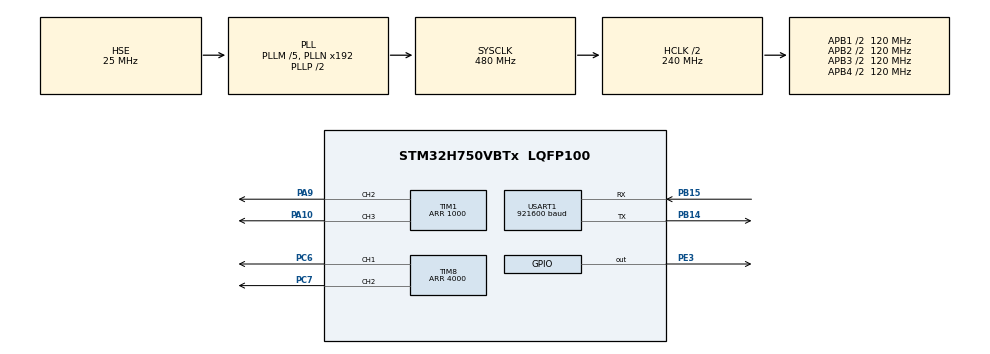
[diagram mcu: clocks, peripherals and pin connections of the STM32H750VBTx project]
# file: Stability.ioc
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CORTEX_M7.default_mode_Activation=1
Dma.Request0=USART1_RX
Dma.USART1_RX.0.Direction=DMA_PERIPH_TO_MEMORY
Dma.USART1_RX.0.EventEnable=DISABLE
Dma.USART1_RX.0.FIFOMode=DMA_FIFOMODE_DISABLE
Dma.USART1_RX.0.Instance=DMA1_Stream0
Dma.USART1_RX.0.MemDataAlignment=DMA_MDATAALIGN_BYTE
Dma.USART1_RX.0.MemInc=DMA_MINC_ENABLE
Dma.USART1_RX.0.Mode=DMA_NORMAL
Dma.USART1_RX.0.PeriphDataAlignment=DMA_PDATAALIGN_BYTE
Dma.USART1_RX.0.PeriphInc=DMA_PINC_DISABLE
Dma.USART1_RX.0.Polarity=HAL_DMAMUX_REQ_GEN_RISING
Dma.USART1_RX.0.Priority=DMA_PRIORITY_LOW
Dma.USART1_RX.0.RequestNumber=1
Dma.USART1_RX.0.SignalID=NONE
Dma.USART1_RX.0.SyncEnable=DISABLE
Dma.USART1_RX.0.SyncPolarity=HAL_DMAMUX_SYNC_NO_EVENT
Dma.USART1_RX.0.SyncRequestNumber=1
Dma.USART1_RX.0.SyncSignalID=NONE
Mcu.Family=STM32H7
Mcu.Name=STM32H750VBTx
Mcu.Package=LQFP100
NVIC.DMA1_Stream0_IRQn=true\:0\:0\:false\:false\:true\:false\:true\:true
NVIC.PriorityGroup=NVIC_PRIORITYGROUP_4
NVIC.TIM2_IRQn=true\:15\:0\:false\:false\:true\:false\:true\:true
NVIC.TimeBase=TIM2_IRQn
NVIC.TimeBaseIP=TIM2
NVIC.USART1_IRQn=true\:0\:0\:false\:false\:true\:true\:true\:true
PA10.Signal=S_TIM1_CH3
PA13\ (JTMS/SWDIO).Signal=DEBUG_JTMS-SWDIO
PA14\ (JTCK/SWCLK).Signal=DEBUG_JTCK-SWCLK
PA9.Signal=S_TIM1_CH2
PB14.Mode=Asynchronous
PB14.Signal=USART1_TX
PB15.Mode=Asynchronous
PB15.Signal=USART1_RX
PC6.Signal=S_TIM8_CH1
PC7.Signal=S_TIM8_CH2
PE3.PinState=GPIO_PIN_SET
PE3.Signal=GPIO_Output
PH0-OSC_IN\ (PH0).Mode=HSE-External-Oscillator
PH0-OSC_IN\ (PH0).Signal=RCC_OSC_IN
PH1-OSC_OUT\ (PH1).Mode=HSE-External-Oscillator
PH1-OSC_OUT\ (PH1).Signal=RCC_OSC_OUT
ProjectManager.HeapSize=0x200
ProjectManager.StackSize=0x400
ProjectManager.TargetToolchain=CMake
RCC.ADCFreq_Value=50390625
RCC.APB1Freq_Value=120000000
RCC.APB2Freq_Value=120000000
RCC.APB3Freq_Value=120000000
RCC.APB4Freq_Value=120000000
RCC.CortexFreq_Value=480000000
RCC.D1PPRE=RCC_APB3_DIV2
RCC.D2PPRE1=RCC_APB1_DIV2
RCC.D2PPRE2=RCC_APB2_DIV2
RCC.D3PPRE=RCC_APB4_DIV2
RCC.DIVM1=5
RCC.DIVN1=192
RCC.EnbaleCSS=true
RCC.HCLKFreq_Value=240000000
RCC.HPRE=RCC_HCLK_DIV2
RCC.PLLFRACN=0
RCC.PLLSourceVirtual=RCC_PLLSOURCE_HSE
RCC.SYSCLKFreq_VALUE=480000000
RCC.SYSCLKSource=RCC_SYSCLKSOURCE_PLLCLK
RCC.USBFreq_Value=480000000
SH.S_TIM1_CH2.0=TIM1_CH2,PWM Generation2 CH2
SH.S_TIM1_CH3.0=TIM1_CH3,PWM Generation3 CH3
SH.S_TIM8_CH1.0=TIM8_CH1,PWM Generation1 CH1
SH.S_TIM8_CH2.0=TIM8_CH2,PWM Generation2 CH2
TIM1.Channel-PWM\ Generation2\ CH2=TIM_CHANNEL_2
TIM1.Channel-PWM\ Generation3\ CH3=TIM_CHANNEL_3
TIM1.Period=1000
TIM8.Channel-PWM\ Generation1\ CH1=TIM_CHANNEL_1
TIM8.Channel-PWM\ Generation2\ CH2=TIM_CHANNEL_2
TIM8.Period=4000
USART1.BaudRate=921600
USART1.VirtualMode-Asynchronous=VM_ASYNC
VP_MEMORYMAP_VS_MEMORYMAP.Mode=CurAppReg
VP_SYS_VS_tim2.Mode=TIM2
board=custom

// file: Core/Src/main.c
/* USER CODE BEGIN Header */
/**
  ******************************************************************************
  * @file : main.c
  * @brief : Main program body
  ******************************************************************************
  * @attention
  *
  * Copyright (c) 2026 STMicroelectronics.
  * All rights reserved.
  *
  * This software is licensed under terms that can be found in the LICENSE file
  * in the root directory of this software component.
  * If no LICENSE file comes with this software, it is provided AS-IS.
  *
  ******************************************************************************
  */
/* USER CODE END Header */
#include "main.h"

/* USER CODE BEGIN Includes */
#include "Simulink.h" // Auto-generated Simulink header
#include <string.h> // Required for memcpy
/* USER CODE END Includes */

TIM_HandleTypeDef htim1;
TIM_HandleTypeDef htim8;

UART_HandleTypeDef huart1;
DMA_HandleTypeDef hdma_usart1_rx;

/* USER CODE BEGIN PV */
// 1. STM32H7 CRITICAL: Force buffer to AXI SRAM so DMA and CPU Cache don't fight
uint8_t * const uart_rx_buffer = (uint8_t*)0x24000000;
volatile uint8_t data_ready = 0; // Flag to trigger control loop
volatile uint32_t last_packet_time = 0; // Failsafe watchdog timer
/* USER CODE END PV */

void SystemClock_Config(void);
static void MPU_Config(void);
static void MX_DMA_Init(void);
static void MX_USART1_UART_Init(void);

/* USER CODE BEGIN 0 */

// 1. Error Recovery Callback (Catches Overrun/Framing Errors safely)
// Directly clears the flags and restarts the DMA, avoiding HAL abort deadlocks.
void HAL_UART_ErrorCallback(UART_HandleTypeDef *huart)
{
  if (huart->Instance == USART1)
  {
    // 1. Clear all UART error flags (ORE, NE, FE, PE)
    __HAL_UART_CLEAR_FLAG(huart, UART_CLEAR_OREF | UART_CLEAR_NEF | UART_CLEAR_FEF | UART_CLEAR_PEF);

    // 2. Directly restart the DMA in "Hunting Mode" (1 byte)
    HAL_UART_Receive_DMA(huart, uart_rx_buffer, 1);
  }
}

// 3. Self-Healing Receive Complete Callback
void HAL_UART_RxCpltCallback(UART_HandleTypeDef *huart)
{
  if (huart->Instance == USART1)
  {
    // Always invalidate the base 32-byte aligned cache line
    SCB_InvalidateDCache_by_Addr((uint32_t *)uart_rx_buffer, 32);

    // --- STATE 1: Normal 26-byte synchronized reading ---
    if (huart->RxXferSize == 26)
    {
        if (uart_rx_buffer[0] == 0xAA && uart_rx_buffer[1] == 0x55)
        {
            // Packet is perfectly aligned! Extract data.
            float temp_states[6];
            memcpy(temp_states, &uart_rx_buffer[2], 24);

            for(int i = 0; i < 6; i++) {
                rtU.state_x[i] = (double)temp_states[i];
            }

            data_ready = 1; // Trigger Simulink

            // Keep listening for the next 26-byte packet
            HAL_UART_Receive_DMA(&huart1, uart_rx_buffer, 26);
        }
        else
        {
            // Packet rejected (Misaligned). Switch to State 2 (Hunting Mode)
            HAL_UART_Receive_DMA(&huart1, uart_rx_buffer, 1);
        }
    }

    // --- STATE 2: Hunting Mode (Reading 1 byte at a time to find headers) ---
    else if (huart->RxXferSize == 1)
    {
        static uint8_t last_byte = 0;
        if (last_byte == 0xAA && uart_rx_buffer[0] == 0x55)
        {
            // Found the sync headers! Switch to State 3.
            // Request the remaining 24 bytes of the payload.
            HAL_UART_Receive_DMA(&huart1, &uart_rx_buffer[2], 24);
            last_byte = 0; // Reset for next time
        }
        else
        {
            // Store this byte and keep hunting
            last_byte = uart_rx_buffer[0];
            HAL_UART_Receive_DMA(&huart1, uart_rx_buffer, 1);
        }
    }

    // --- STATE 3: Payload Recovery (Reading the 24 bytes after headers) ---
    else if (huart->RxXferSize == 24)
    {
        // Payload successfully recovered after a framing error
        float temp_states[6];
        memcpy(temp_states, &uart_rx_buffer[2], 24);

        for(int i = 0; i < 6; i++) {
            rtU.state_x[i] = (double)temp_states[i];
        }

        data_ready = 1; // Trigger Simulink

        // We are fully synchronized again! Go back to State 1
        HAL_UART_Receive_DMA(&huart1, uart_rx_buffer, 26);
    }
  }
}
/* USER CODE END 0 */

int main(void)
{

  /* MPU Configuration--------------------------------------------------------*/
  MPU_Config();

  /* MCU Configuration--------------------------------------------------------*/

  /* Reset of all peripherals, Initializes the Flash interface and the Systick. */
  HAL_Init();

  /* Configure the system clock */
  SystemClock_Config();

  /* Initialize all configured peripherals */
  MX_GPIO_Init();
  MX_DMA_Init();
  MX_TIM1_Init();
  MX_TIM8_Init();
  MX_USART1_UART_Init();
  /* USER CODE BEGIN 2 */

  // 1. SAFETY: Override CubeMX init and explicitly pull PE3 LOW to disable motors
  HAL_GPIO_WritePin(GPIOE, GPIO_PIN_3, GPIO_PIN_RESET);

  // 2. Initialize the Simulink controller
  Simulink_initialize();

  // 3. Kick off the asynchronous DMA listener to receive data from ESP32
  HAL_UART_Receive_DMA(&huart1, uart_rx_buffer, 26);

  // 4. BLOCKING WAIT: Trap the STM32 here until the ESP32 sends the first packet
  while(data_ready == 0)
  {
      // Waiting for ESP32 connection...
      HAL_Delay(10);
  }

  // ESP32 IS CONNECTED! Clear the flag from the first packet
  data_ready = 0;
  last_packet_time = HAL_GetTick(); // Initialize watchdog timestamp

  // 5. ENABLE MOTORS: Pull PE3 HIGH now that we have valid state data
  HAL_GPIO_WritePin(GPIOE, GPIO_PIN_3, GPIO_PIN_SET);

  // 6. Start the Hardware Timers for PWM Output (UPDATED CHANNELS)
  HAL_TIM_PWM_Start(&htim1, TIM_CHANNEL_2); // Right Motor RPWM (PA9)
  HAL_TIM_PWM_Start(&htim1, TIM_CHANNEL_3); // Right Motor LPWM (PA10)

  HAL_TIM_PWM_Start(&htim8, TIM_CHANNEL_1); // Left Motor RPWM (PC6)
  HAL_TIM_PWM_Start(&htim8, TIM_CHANNEL_2); // Left Motor LPWM (PC7)

  /* USER CODE END 2 */

  /* Infinite loop */
  /* USER CODE BEGIN WHILE */
    while (1)
    {
      // CRITICAL: Only run LQR math when NEW data arrives from the ESP32.
      // This locks your control loop dt to the exact frequency of your sensors.
      if (data_ready == 1)
      {
        // Acknowledge the flag and update timestamp
        data_ready = 0;
        last_packet_time = HAL_GetTick();

        // Re-enable motors in case watchdog had disabled them
        HAL_GPIO_WritePin(GPIOE, GPIO_PIN_3, GPIO_PIN_SET);

        // 1. Run the LQR Control Matrix calculation (now with deadband!)
        Simulink_step();

        // 2. Apply generated PWM to hardware timers dynamically

        // Right Motor (TIM1) -> PA9 and PA10
        __HAL_TIM_SET_COMPARE(&htim1, TIM_CHANNEL_2, (uint32_t)rtY.RPWM_R1);
        __HAL_TIM_SET_COMPARE(&htim1, TIM_CHANNEL_3, (uint32_t)rtY.RPWM_R);

        // Left Motor (TIM8) -> PC6 and PC7
        __HAL_TIM_SET_COMPARE(&htim8, TIM_CHANNEL_1, (uint32_t)rtY.RPWM_R2);
        __HAL_TIM_SET_COMPARE(&htim8, TIM_CHANNEL_2, (uint32_t)rtY.RPWM_R3);
      }
      else
      {
        // Failsafe Watchdog: If no packet received for > 100ms, shutdown motors
        if (HAL_GetTick() - last_packet_time > 100)
        {
          // Disable motor drivers globally
          HAL_GPIO_WritePin(GPIOE, GPIO_PIN_3, GPIO_PIN_RESET);

          // Force duty cycles to 0 to prevent motor spinning
          __HAL_TIM_SET_COMPARE(&htim1, TIM_CHANNEL_2, 0);
          __HAL_TIM_SET_COMPARE(&htim1, TIM_CHANNEL_3, 0);
          __HAL_TIM_SET_COMPARE(&htim8, TIM_CHANNEL_1, 0);
          __HAL_TIM_SET_COMPARE(&htim8, TIM_CHANNEL_2, 0);
        }
      }
    /* USER CODE END WHILE */

    }
}

void SystemClock_Config(void)
{
  RCC_OscInitTypeDef RCC_OscInitStruct = {0};
  RCC_ClkInitTypeDef RCC_ClkInitStruct = {0};

  /** Supply configuration update enable
  */
  HAL_PWREx_ConfigSupply(PWR_LDO_SUPPLY);

  /** Configure the main internal regulator output voltage
  */
  __HAL_PWR_VOLTAGESCALING_CONFIG(PWR_REGULATOR_VOLTAGE_SCALE1);

  while(!__HAL_PWR_GET_FLAG(PWR_FLAG_VOSRDY)) {}

  __HAL_RCC_SYSCFG_CLK_ENABLE();
  __HAL_PWR_VOLTAGESCALING_CONFIG(PWR_REGULATOR_VOLTAGE_SCALE0);

  while(!__HAL_PWR_GET_FLAG(PWR_FLAG_VOSRDY)) {}

  /** Initializes the RCC Oscillators according to the specified parameters
  * in the RCC_OscInitTypeDef structure.
  */
  RCC_OscInitStruct.OscillatorType = RCC_OSCILLATORTYPE_HSE;
  RCC_OscInitStruct.HSEState = RCC_HSE_ON;
  RCC_OscInitStruct.PLL.PLLState = RCC_PLL_ON;
  RCC_OscInitStruct.PLL.PLLSource = RCC_PLLSOURCE_HSE;
  RCC_OscInitStruct.PLL.PLLM = 5;
  RCC_OscInitStruct.PLL.PLLN = 192;
  RCC_OscInitStruct.PLL.PLLP = 2;
  RCC_OscInitStruct.PLL.PLLQ = 2;
  RCC_OscInitStruct.PLL.PLLR = 2;
  RCC_OscInitStruct.PLL.PLLRGE = RCC_PLL1VCIRANGE_2;
  RCC_OscInitStruct.PLL.PLLVCOSEL = RCC_PLL1VCOWIDE;
  RCC_OscInitStruct.PLL.PLLFRACN = 0;
  if (HAL_RCC_OscConfig(&RCC_OscInitStruct) != HAL_OK)
  {
    Error_Handler();
  }

  /** Initializes the CPU, AHB and APB buses clocks
  */
  RCC_ClkInitStruct.ClockType = RCC_CLOCKTYPE_HCLK|RCC_CLOCKTYPE_SYSCLK
                              |RCC_CLOCKTYPE_PCLK1|RCC_CLOCKTYPE_PCLK2
                              |RCC_CLOCKTYPE_D3PCLK1|RCC_CLOCKTYPE_D1PCLK1;
  RCC_ClkInitStruct.SYSCLKSource = RCC_SYSCLKSOURCE_PLLCLK;
  RCC_ClkInitStruct.SYSCLKDivider = RCC_SYSCLK_DIV1;
  RCC_ClkInitStruct.AHBCLKDivider = RCC_HCLK_DIV2;
  RCC_ClkInitStruct.APB3CLKDivider = RCC_APB3_DIV2;
  RCC_ClkInitStruct.APB1CLKDivider = RCC_APB1_DIV2;
  RCC_ClkInitStruct.APB2CLKDivider = RCC_APB2_DIV2;
  RCC_ClkInitStruct.APB4CLKDivider = RCC_APB4_DIV2;

  if (HAL_RCC_ClockConfig(&RCC_ClkInitStruct, FLASH_LATENCY_4) != HAL_OK)
  {
    Error_Handler();
  }

  /** Enables the Clock Security System
  */
  HAL_RCC_EnableCSS();
}

void MX_TIM1_Init(void)
{

  TIM_MasterConfigTypeDef sMasterConfig = {0};
  TIM_OC_InitTypeDef sConfigOC = {0};
  TIM_BreakDeadTimeConfigTypeDef sBreakDeadTimeConfig = {0};

  htim1.Instance = TIM1;
  htim1.Init.Prescaler = 7;
  htim1.Init.CounterMode = TIM_COUNTERMODE_UP;
  htim1.Init.Period = 4000;
  htim1.Init.ClockDivision = TIM_CLOCKDIVISION_DIV1;
  htim1.Init.RepetitionCounter = 0;
  htim1.Init.AutoReloadPreload = TIM_AUTORELOAD_PRELOAD_DISABLE;
  if (HAL_TIM_PWM_Init(&htim1) != HAL_OK)
  {
    Error_Handler();
  }
  sMasterConfig.MasterOutputTrigger = TIM_TRGO_RESET;
  sMasterConfig.MasterOutputTrigger2 = TIM_TRGO2_RESET;
  sMasterConfig.MasterSlaveMode = TIM_MASTERSLAVEMODE_DISABLE;
  if (HAL_TIMEx_MasterConfigSynchronization(&htim1, &sMasterConfig) != HAL_OK)
  {
    Error_Handler();
  }
  sConfigOC.OCMode = TIM_OCMODE_PWM1;
  sConfigOC.Pulse = 0;
  sConfigOC.OCPolarity = TIM_OCPOLARITY_HIGH;
  sConfigOC.OCNPolarity = TIM_OCNPOLARITY_HIGH;
  sConfigOC.OCFastMode = TIM_OCFAST_DISABLE;
  sConfigOC.OCIdleState = TIM_OCIDLESTATE_RESET;
  sConfigOC.OCNIdleState = TIM_OCNIDLESTATE_RESET;
  if (HAL_TIM_PWM_ConfigChannel(&htim1, &sConfigOC, TIM_CHANNEL_2) != HAL_OK)
  {
    Error_Handler();
  }
  if (HAL_TIM_PWM_ConfigChannel(&htim1, &sConfigOC, TIM_CHANNEL_3) != HAL_OK)
  {
    Error_Handler();
  }
  sBreakDeadTimeConfig.OffStateRunMode = TIM_OSSR_DISABLE;
  sBreakDeadTimeConfig.OffStateIDLEMode = TIM_OSSI_DISABLE;
  sBreakDeadTimeConfig.LockLevel = TIM_LOCKLEVEL_OFF;
  sBreakDeadTimeConfig.DeadTime = 0;
  sBreakDeadTimeConfig.BreakState = TIM_BREAK_DISABLE;
  sBreakDeadTimeConfig.BreakPolarity = TIM_BREAKPOLARITY_HIGH;
  sBreakDeadTimeConfig.BreakFilter = 0;
  sBreakDeadTimeConfig.Break2State = TIM_BREAK2_DISABLE;
  sBreakDeadTimeConfig.Break2Polarity = TIM_BREAK2POLARITY_HIGH;
  sBreakDeadTimeConfig.Break2Filter = 0;
  sBreakDeadTimeConfig.AutomaticOutput = TIM_AUTOMATICOUTPUT_DISABLE;
  if (HAL_TIMEx_ConfigBreakDeadTime(&htim1, &sBreakDeadTimeConfig) != HAL_OK)
  {
    Error_Handler();
  }
  HAL_TIM_MspPostInit(&htim1);

}

void MX_TIM8_Init(void)
{

  TIM_MasterConfigTypeDef sMasterConfig = {0};
  TIM_OC_InitTypeDef sConfigOC = {0};
  TIM_BreakDeadTimeConfigTypeDef sBreakDeadTimeConfig = {0};

  htim8.Instance = TIM8;
  htim8.Init.Prescaler = 7;
  htim8.Init.CounterMode = TIM_COUNTERMODE_UP;
  htim8.Init.Period = 4000;
  htim8.Init.ClockDivision = TIM_CLOCKDIVISION_DIV1;
  htim8.Init.RepetitionCounter = 0;
  htim8.Init.AutoReloadPreload = TIM_AUTORELOAD_PRELOAD_DISABLE;
  if (HAL_TIM_PWM_Init(&htim8) != HAL_OK)
  {
    Error_Handler();
  }
  sMasterConfig.MasterOutputTrigger = TIM_TRGO_RESET;
  sMasterConfig.MasterOutputTrigger2 = TIM_TRGO2_RESET;
  sMasterConfig.MasterSlaveMode = TIM_MASTERSLAVEMODE_DISABLE;
  if (HAL_TIMEx_MasterConfigSynchronization(&htim8, &sMasterConfig) != HAL_OK)
  {
    Error_Handler();
  }
  sConfigOC.OCMode = TIM_OCMODE_PWM1;
  sConfigOC.Pulse = 0;
  sConfigOC.OCPolarity = TIM_OCPOLARITY_HIGH;
  sConfigOC.OCNPolarity = TIM_OCNPOLARITY_HIGH;
  sConfigOC.OCFastMode = TIM_OCFAST_DISABLE;
  sConfigOC.OCIdleState = TIM_OCIDLESTATE_RESET;
  sConfigOC.OCNIdleState = TIM_OCNIDLESTATE_RESET;
  if (HAL_TIM_PWM_ConfigChannel(&htim8, &sConfigOC, TIM_CHANNEL_1) != HAL_OK)
  {
    Error_Handler();
  }
  if (HAL_TIM_PWM_ConfigChannel(&htim8, &sConfigOC, TIM_CHANNEL_2) != HAL_OK)
  {
    Error_Handler();
  }
  sBreakDeadTimeConfig.OffStateRunMode = TIM_OSSR_DISABLE;
  sBreakDeadTimeConfig.OffStateIDLEMode = TIM_OSSI_DISABLE;
  sBreakDeadTimeConfig.LockLevel = TIM_LOCKLEVEL_OFF;
  sBreakDeadTimeConfig.DeadTime = 0;
  sBreakDeadTimeConfig.BreakState = TIM_BREAK_DISABLE;
  sBreakDeadTimeConfig.BreakPolarity = TIM_BREAKPOLARITY_HIGH;
  sBreakDeadTimeConfig.BreakFilter = 0;
  sBreakDeadTimeConfig.Break2State = TIM_BREAK2_DISABLE;
  sBreakDeadTimeConfig.Break2Polarity = TIM_BREAK2POLARITY_HIGH;
  sBreakDeadTimeConfig.Break2Filter = 0;
  sBreakDeadTimeConfig.AutomaticOutput = TIM_AUTOMATICOUTPUT_DISABLE;
  if (HAL_TIMEx_ConfigBreakDeadTime(&htim8, &sBreakDeadTimeConfig) != HAL_OK)
  {
    Error_Handler();
  }
  HAL_TIM_MspPostInit(&htim8);

}

static void MX_USART1_UART_Init(void)
{

  huart1.Instance = USART1;
  huart1.Init.BaudRate = 921600;
  huart1.Init.WordLength = UART_WORDLENGTH_8B;
  huart1.Init.StopBits = UART_STOPBITS_1;
  huart1.Init.Parity = UART_PARITY_NONE;
  huart1.Init.Mode = UART_MODE_TX_RX;
  huart1.Init.HwFlowCtl = UART_HWCONTROL_NONE;
  huart1.Init.OverSampling = UART_OVERSAMPLING_16;
  huart1.Init.OneBitSampling = UART_ONE_BIT_SAMPLE_DISABLE;
  huart1.Init.ClockPrescaler = UART_PRESCALER_DIV1;
  huart1.AdvancedInit.AdvFeatureInit = UART_ADVFEATURE_NO_INIT;
  if (HAL_UART_Init(&huart1) != HAL_OK)
  {
    Error_Handler();
  }
  if (HAL_UARTEx_SetTxFifoThreshold(&huart1, UART_TXFIFO_THRESHOLD_1_8) != HAL_OK)
  {
    Error_Handler();
  }
  if (HAL_UARTEx_SetRxFifoThreshold(&huart1, UART_RXFIFO_THRESHOLD_1_8) != HAL_OK)
  {
    Error_Handler();
  }
  if (HAL_UARTEx_DisableFifoMode(&huart1) != HAL_OK)
  {
    Error_Handler();
  }

}

static void MX_DMA_Init(void)
{

  /* DMA controller clock enable */
  __HAL_RCC_DMA1_CLK_ENABLE();

  /* DMA interrupt init */
  /* DMA1_Stream0_IRQn interrupt configuration */
  HAL_NVIC_SetPriority(DMA1_Stream0_IRQn, 0, 0);
  HAL_NVIC_EnableIRQ(DMA1_Stream0_IRQn);

}

void MX_GPIO_Init(void)
{
  GPIO_InitTypeDef GPIO_InitStruct = {0};

  /* GPIO Ports Clock Enable */
  __HAL_RCC_GPIOE_CLK_ENABLE();
  __HAL_RCC_GPIOH_CLK_ENABLE();
  __HAL_RCC_GPIOB_CLK_ENABLE();
  __HAL_RCC_GPIOC_CLK_ENABLE();
  __HAL_RCC_GPIOA_CLK_ENABLE();

  /*Configure GPIO pin Output Level */
  HAL_GPIO_WritePin(GPIOE, GPIO_PIN_3, GPIO_PIN_SET);

  /*Configure GPIO pin : PE3 */
  GPIO_InitStruct.Pin = GPIO_PIN_3;
  GPIO_InitStruct.Mode = GPIO_MODE_OUTPUT_PP;
  GPIO_InitStruct.Pull = GPIO_NOPULL;
  GPIO_InitStruct.Speed = GPIO_SPEED_FREQ_LOW;
  HAL_GPIO_Init(GPIOE, &GPIO_InitStruct);

}

 /* MPU Configuration */

void MPU_Config(void)
{
  MPU_Region_InitTypeDef MPU_InitStruct = {0};

  /* Disables the MPU */
  HAL_MPU_Disable();

  /** Initializes and configures the Region and the memory to be protected
  */
  MPU_InitStruct.Enable = MPU_REGION_ENABLE;
  MPU_InitStruct.Number = MPU_REGION_NUMBER0;
  MPU_InitStruct.BaseAddress = 0x0;
  MPU_InitStruct.Size = MPU_REGION_SIZE_4GB;
  MPU_InitStruct.SubRegionDisable = 0x87;
  MPU_InitStruct.TypeExtField = MPU_TEX_LEVEL0;
  MPU_InitStruct.AccessPermission = MPU_REGION_NO_ACCESS;
  MPU_InitStruct.DisableExec = MPU_INSTRUCTION_ACCESS_DISABLE;
  MPU_InitStruct.IsShareable = MPU_ACCESS_SHAREABLE;
  MPU_InitStruct.IsCacheable = MPU_ACCESS_NOT_CACHEABLE;
  MPU_InitStruct.IsBufferable = MPU_ACCESS_NOT_BUFFERABLE;

  HAL_MPU_ConfigRegion(&MPU_InitStruct);
  /* Enables the MPU */
  HAL_MPU_Enable(MPU_PRIVILEGED_DEFAULT);

}

void HAL_TIM_PeriodElapsedCallback(TIM_HandleTypeDef *htim)
{
  if (htim->Instance == TIM2) {
    HAL_IncTick();
  }
}

void Error_Handler(void)
{
  __disable_irq();
  while (1)
  {
  }
}
#ifdef USE_FULL_ASSERT

/**

* @brief Reports the name of the source file and the source line number

* where the assert_param error has occurred.

* @param file: pointer to the source file

name

* @param line: assert_param error line

source number

* @retval None

*/

void assert_failed(uint8_t *file, uint32_t line)

{

/* USER CODE BEGIN 6 */

/* User can add his own implementation

to report the file name and line number,

ex: printf("Wrong parameters value: file

%s on line %d\r\n", file, line) */

/* USER CODE END 6 */
}
#endif /* USE_FULL_ASSERT */
